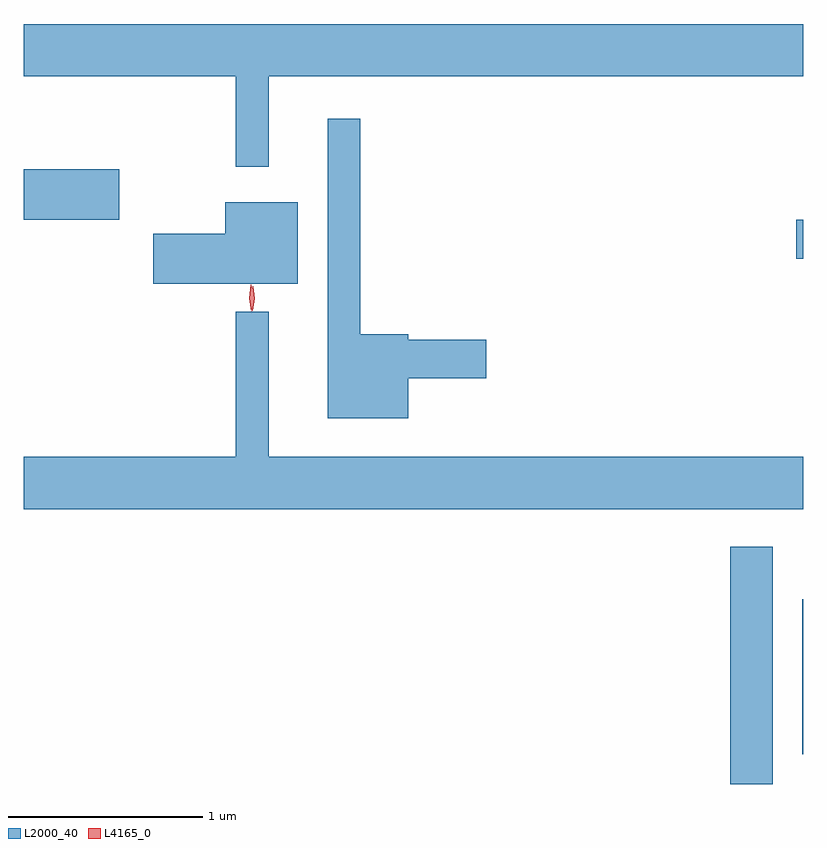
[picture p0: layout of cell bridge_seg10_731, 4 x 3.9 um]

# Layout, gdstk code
import gdstk
lib = gdstk.Library(unit=1e-6, precision=1e-09)
def R(c, l, rs):  # rectangles x0, y0, x1, y1
    for r in rs: c.add(gdstk.rectangle(r[:2], r[2:], *l))
def P(c, l, *ps):  # polygons
    for p in ps: c.add(gdstk.Polygon(p, *l))
L2000_40 = (2000, 40)
L4165_0 = (4165, 0)

bridge_seg10_731 = lib.new_cell('bridge_seg10_731')
R(bridge_seg10_731, L2000_40, [(612.676,2116.946,612.894,2118.164), (613.046,2117.098,613.052,2117.894), (613.016,2119.641,613.052,2119.839), (609.052,2119.841,609.544,2120.099)])
P(bridge_seg10_731, L2000_40, [(610.309,2120.576),(613.052,2120.576),(613.052,2120.844),(609.052,2120.844),(609.052,2120.576),(610.141,2120.576),(610.141,2120.113),(610.309,2120.113)],
  [(611.024,2119.026),(611.424,2119.026),(611.424,2119.224),(611.024,2119.224),(611.024,2119.254),(610.779,2119.254),(610.779,2120.358),(610.611,2120.358),(610.611,2118.821),(611.024,2118.821)],
  [(610.459,2119.929),(610.086,2119.929),(610.086,2119.769),(609.716,2119.769),(609.716,2119.511),(610.459,2119.511)],
  [(613.052,2118.624),(610.309,2118.624),(610.309,2119.368),(610.141,2119.368),(610.141,2118.624),(609.052,2118.624),(609.052,2118.356),(613.052,2118.356)])
P(bridge_seg10_731, L4165_0, [(610.219,2119.37),(610.219,2119.37),(610.209,2119.438),(610.218,2119.506),(610.218,2119.506),(610.219,2119.506),(610.229,2119.438),(610.22,2119.37)],
  [(610.227,2119.373),(610.226,2119.374),(610.218,2119.436),(610.228,2119.499),(610.229,2119.5),(610.23,2119.499),(610.238,2119.436),(610.227,2119.374)])

lib.write_gds('bridge_seg10_731.gds')
